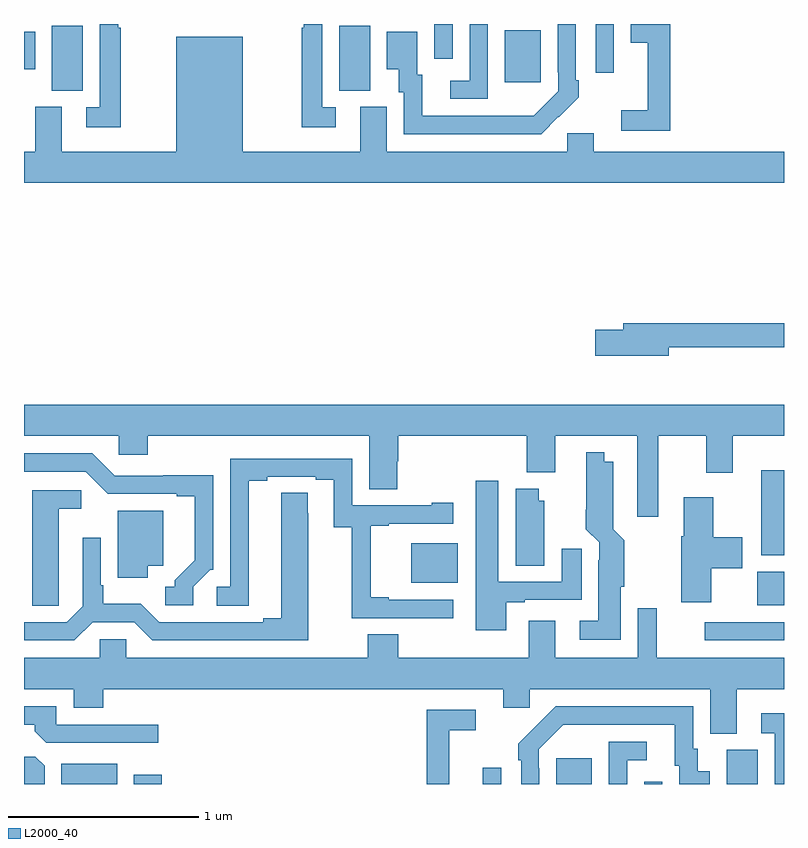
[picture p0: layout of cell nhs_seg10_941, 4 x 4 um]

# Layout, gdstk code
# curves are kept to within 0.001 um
import gdstk
lib = gdstk.Library(unit=1e-6, precision=1e-09)
def R(c, l, rs):  # rectangles x0, y0, x1, y1
    for r in rs: c.add(gdstk.rectangle(r[:2], r[2:], *l))
def P(c, l, *ps):  # polygons
    for p in ps: c.add(gdstk.Polygon(p, *l))
L2000_40 = (2000, 40)

nhs_seg10_941 = lib.new_cell('nhs_seg10_941')
R(nhs_seg10_941, L2000_40, [(159.197,1282.5,159.49,1282.606), (159.578,1282.5,159.725,1282.549), (161.415,1282.5,161.511,1282.585), (161.801,1282.5,161.989,1282.636), (162.264,1282.5,162.36,1282.513), (162.698,1282.5,162.862,1282.68), (162.582,1283.256,163,1283.352), (162.86,1283.441,163,1283.617), (161.039,1283.558,161.284,1283.767), (162.881,1283.705,163,1284.151), (159.146,1286.149,159.31,1286.492), (160.658,1286.149,160.822,1286.492), (161.531,1286.193,161.719,1286.467), (162.009,1286.244,162.105,1286.5), (159,1286.261,159.058,1286.458), (161.16,1286.316,161.256,1286.5)])
P(nhs_seg10_941, L2000_40, [(159.508,1286.48),(159.495,1286.48),(159.495,1286.5),(159.399,1286.5),(159.399,1286.061),(159.327,1286.061),(159.327,1285.956),(159.508,1285.956)],
  [(160.642,1286.061),(160.569,1286.061),(160.569,1286.5),(160.473,1286.5),(160.473,1286.48),(160.461,1286.48),(160.461,1285.956),(160.642,1285.956)],
  [(161.813,1286.011),(161.814,1286.01),(161.919,1286.115),(161.919,1286.203),(161.904,1286.203),(161.904,1286.5),(161.808,1286.5),(161.808,1286.245),(161.811,1286.245),(161.811,1286.145),(161.683,1286.017),(161.095,1286.016),(161.095,1286.232),(161.071,1286.232),(161.071,1286.458),(160.91,1286.458),(160.91,1286.261),(160.973,1286.261),(160.973,1286.142),(160.998,1286.142),(160.998,1285.92),(161.722,1285.92)],
  [(162.401,1286.5),(162.194,1286.5),(162.194,1286.402),(162.284,1286.402),(162.284,1286.047),(162.144,1286.047),(162.144,1285.938),(162.401,1285.938)],
  [(161.442,1286.5),(161.346,1286.5),(161.346,1286.202),(161.244,1286.202),(161.244,1286.106),(161.442,1286.106)],
  [(163,1285.828),(161.998,1285.828),(161.998,1285.926),(161.859,1285.926),(161.859,1285.828),(160.909,1285.828),(160.909,1286.064),(160.769,1286.064),(160.769,1285.828),(160.15,1285.828),(160.15,1286.434),(159.8,1286.434),(159.8,1285.828),(159.199,1285.828),(159.199,1286.064),(159.059,1286.064),(159.059,1285.828),(159,1285.828),(159,1285.664),(163,1285.664)],
  [(162.394,1284.798),(163,1284.798),(163,1284.926),(162.155,1284.926),(162.155,1284.89),(162.006,1284.89),(162.006,1284.755),(162.394,1284.755)],
  [(162.337,1284.332),(162.59,1284.332),(162.59,1284.138),(162.73,1284.138),(162.73,1284.332),(163,1284.332),(163,1284.496),(159,1284.496),(159,1284.332),(159.498,1284.332),(159.498,1284.234),(159.65,1284.234),(159.65,1284.332),(160.817,1284.332),(160.817,1284.052),(160.965,1284.052),(160.965,1284.198),(160.97,1284.198),(160.97,1284.332),(161.645,1284.332),(161.645,1284.14),(161.797,1284.14),(161.797,1284.332),(162.227,1284.332),(162.227,1283.907),(162.337,1283.907)],
  [(162.142,1283.538),(162.16,1283.538),(162.16,1283.783),(162.101,1283.842),(162.1,1284.196),(162.055,1284.196),(162.055,1284.247),(161.958,1284.247),(161.957,1283.842),(162.027,1283.772),(162.027,1283.678),(162.023,1283.678),(162.023,1283.359),(161.925,1283.359),(161.925,1283.258),(162.142,1283.258)],
  [(159.891,1283.538),(159.981,1283.628),(159.996,1283.628),(159.996,1284.125),(159.733,1284.125),(159.733,1284.123),(159.477,1284.123),(159.36,1284.24),(159,1284.24),(159,1284.144),(159.324,1284.144),(159.441,1284.027),(159.803,1284.027),(159.803,1284.015),(159.899,1284.015),(159.899,1283.678),(159.794,1283.573),(159.794,1283.538),(159.744,1283.538),(159.744,1283.442),(159.891,1283.442)],
  [(161.26,1283.469),(160.921,1283.469),(160.921,1283.482),(160.826,1283.482),(160.826,1283.859),(160.921,1283.859),(160.921,1283.871),(161.26,1283.871),(161.26,1283.98),(161.147,1283.98),(161.147,1283.967),(160.728,1283.967),(160.728,1284.213),(160.086,1284.213),(160.086,1283.538),(160.014,1283.538),(160.014,1283.437),(160.183,1283.437),(160.183,1284.097),(160.279,1284.097),(160.279,1284.117),(160.535,1284.117),(160.535,1284.102),(160.631,1284.102),(160.631,1283.851),(160.726,1283.851),(160.726,1283.373),(161.26,1283.373)],
  [(161.539,1283.457),(161.635,1283.457),(161.635,1283.469),(161.935,1283.469),(161.935,1283.737),(161.831,1283.737),(161.831,1283.565),(161.497,1283.565),(161.497,1284.097),(161.378,1284.097),(161.378,1283.31),(161.539,1283.31)],
  [(161.737,1283.991),(161.71,1283.991),(161.71,1284.055),(161.588,1284.055),(161.588,1283.65),(161.737,1283.65)],
  [(159.183,1283.545),(159.184,1283.545),(159.184,1283.948),(159.301,1283.948),(159.301,1284.045),(159.044,1284.045),(159.044,1283.437),(159.183,1283.437)],
  [(159.361,1283.352),(159.579,1283.352),(159.675,1283.256),(160.495,1283.256),(160.494,1284.032),(160.355,1284.032),(160.355,1283.372),(160.259,1283.372),(160.259,1283.352),(159.711,1283.352),(159.614,1283.449),(159.418,1283.449),(159.418,1283.545),(159.405,1283.545),(159.405,1283.797),(159.309,1283.797),(159.309,1283.436),(159.225,1283.352),(159,1283.352),(159,1283.256),(159.265,1283.256)],
  [(162.616,1283.636),(162.781,1283.636),(162.781,1283.799),(162.628,1283.799),(162.628,1284.01),(162.473,1284.01),(162.473,1283.805),(162.458,1283.805),(162.458,1283.457),(162.616,1283.457)],
  [(159.652,1283.648),(159.733,1283.648),(159.733,1283.938),(159.494,1283.938),(159.494,1283.586),(159.652,1283.586)],
  [(162.751,1283),(163,1283),(163,1283.164),(162.33,1283.164),(162.33,1283.425),(162.231,1283.425),(162.231,1283.164),(161.797,1283.164),(161.797,1283.359),(161.657,1283.359),(161.657,1283.164),(160.97,1283.164),(160.97,1283.288),(160.81,1283.288),(160.81,1283.164),(159.537,1283.164),(159.537,1283.262),(159.399,1283.262),(159.399,1283.164),(159,1283.164),(159,1283),(159.263,1283),(159.263,1282.901),(159.416,1282.901),(159.416,1283),(161.522,1283),(161.522,1282.902),(161.661,1282.902),(161.661,1283),(162.611,1283),(162.611,1282.765),(162.751,1282.765)],
  [(159.706,1282.812),(159.171,1282.812),(159.171,1282.908),(159,1282.908),(159,1282.812),(159.056,1282.812),(159.056,1282.778),(159.117,1282.716),(159.706,1282.716)],
  [(161.712,1282.583),(161.709,1282.583),(161.709,1282.683),(161.838,1282.812),(162.425,1282.812),(162.425,1282.596),(162.449,1282.596),(162.449,1282.5),(162.61,1282.5),(162.61,1282.567),(162.547,1282.567),(162.547,1282.686),(162.522,1282.686),(162.522,1282.908),(161.798,1282.908),(161.601,1282.713),(161.601,1282.625),(161.616,1282.625),(161.616,1282.5),(161.712,1282.5)],
  [(161.237,1282.782),(161.377,1282.782),(161.377,1282.89),(161.119,1282.89),(161.119,1282.5),(161.237,1282.5)],
  [(163,1282.873),(162.879,1282.873),(162.879,1282.767),(162.951,1282.767),(162.951,1282.5),(163,1282.5)],
  [(162.174,1282.626),(162.277,1282.626),(162.277,1282.722),(162.078,1282.722),(162.078,1282.5),(162.174,1282.5)],
  [(159.109,1282.595),(159.06,1282.644),(159,1282.644),(159,1282.5),(159.109,1282.5)])

lib.write_gds('nhs_seg10_941.gds')
